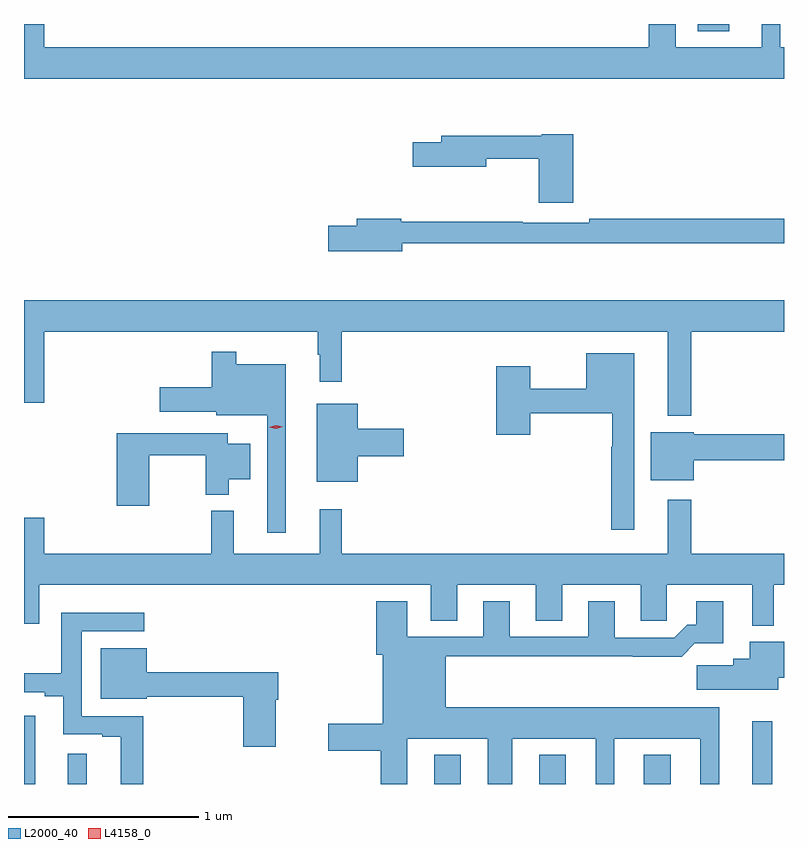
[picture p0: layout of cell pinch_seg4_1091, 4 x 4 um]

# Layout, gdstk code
import gdstk
lib = gdstk.Library(unit=1e-6, precision=1e-09)
def R(c, l, rs):  # rectangles x0, y0, x1, y1
    for r in rs: c.add(gdstk.rectangle(r[:2], r[2:], *l))
def A(c, l, x, y, w, h, nx, ny, dx, dy):  # array of equal rectangles
    R(c, l, [(x+i*dx, y+j*dy, x+i*dx+w, y+j*dy+h) for i in range(nx) for j in range(ny)])
def P(c, l, *ps):  # polygons
    for p in ps: c.add(gdstk.Polygon(p, *l))
L2000_40 = (2000, 40)
L4158_0 = (4158, 0)

pinch_seg4_1091 = lib.new_cell('pinch_seg4_1091')
A(pinch_seg4_1091, L2000_40, 418.973, 802.431, 0.14, 0.154, 3, 1, 0.552, 0)
R(pinch_seg4_1091, L2000_40, [(416.814,802.431,416.872,802.791), (417.044,802.431,417.143,802.591), (420.647,802.431,420.751,802.762), (420.36,806.393,420.526,806.431)])
P(pinch_seg4_1091, L2000_40, [(420.814,806.308),(420.795,806.308),(420.795,806.431),(420.698,806.431),(420.698,806.308),(420.244,806.308),(420.244,806.431),(420.101,806.431),(420.101,806.308),(416.92,806.308),(416.92,806.431),(416.814,806.431),(416.814,806.144),(420.814,806.144)],
  [(419.705,805.851),(419.538,805.851),(419.538,805.843),(419.009,805.843),(419.009,805.809),(418.86,805.809),(418.86,805.679),(419.248,805.679),(419.248,805.722),(419.522,805.722),(419.522,805.491),(419.705,805.491)],
  [(418.804,805.278),(420.814,805.278),(420.814,805.406),(419.788,805.406),(419.788,805.386),(419.438,805.386),(419.438,805.391),(418.8,805.391),(418.8,805.406),(418.565,805.406),(418.565,805.37),(418.416,805.37),(418.416,805.235),(418.804,805.235)],
  [(420.325,804.812),(420.814,804.812),(420.814,804.976),(416.814,804.976),(416.814,804.438),(416.92,804.438),(416.92,804.812),(418.359,804.812),(418.359,804.689),(418.37,804.689),(418.37,804.549),(418.487,804.549),(418.487,804.812),(420.203,804.812),(420.203,804.368),(420.325,804.368)],
  [(418.192,804.64),(417.931,804.64),(417.931,804.706),(417.802,804.706),(417.802,804.519),(417.528,804.519),(417.528,804.389),(417.825,804.389),(417.825,804.371),(418.095,804.371),(418.095,803.754),(418.192,803.754)],
  [(420.025,804.697),(419.774,804.697),(419.774,804.511),(419.478,804.511),(419.478,804.631),(419.3,804.631),(419.3,804.27),(419.478,804.27),(419.478,804.382),(419.911,804.382),(419.911,804.205),(419.904,804.205),(419.904,803.769),(420.025,803.769)],
  [(418.57,804.155),(418.813,804.155),(418.813,804.302),(418.57,804.302),(418.57,804.433),(418.355,804.433),(418.355,804.023),(418.57,804.023)],
  [(420.34,804.136),(420.814,804.136),(420.814,804.272),(420.34,804.272),(420.34,804.283),(420.113,804.283),(420.113,804.029),(420.34,804.029)],
  [(417.472,804.16),(417.77,804.16),(417.77,803.954),(417.892,803.954),(417.892,804.035),(418.006,804.035),(418.006,804.223),(417.886,804.223),(417.886,804.276),(417.302,804.276),(417.302,803.895),(417.472,803.895)],
  [(418.955,803.29),(419.095,803.29),(419.095,803.48),(419.507,803.48),(419.507,803.29),(419.647,803.29),(419.647,803.48),(420.059,803.48),(420.059,803.29),(420.198,803.29),(420.198,803.48),(420.647,803.48),(420.647,803.264),(420.761,803.264),(420.761,803.48),(420.814,803.48),(420.814,803.644),(420.325,803.644),(420.325,803.926),(420.203,803.926),(420.203,803.644),(418.487,803.644),(418.487,803.878),(418.37,803.878),(418.37,803.644),(417.917,803.644),(417.917,803.869),(417.799,803.869),(417.799,803.644),(416.92,803.644),(416.92,803.833),(416.814,803.833),(416.814,803.274),(416.893,803.274),(416.893,803.48),(418.955,803.48)],
  [(418.831,802.67),(419.255,802.67),(419.255,802.431),(419.383,802.431),(419.383,802.67),(419.822,802.67),(419.822,802.431),(419.92,802.431),(419.92,802.67),(420.374,802.67),(420.374,802.431),(420.472,802.431),(420.472,802.834),(419.035,802.834),(419.035,803.104),(420.019,803.104),(420.019,803.102),(420.275,803.102),(420.344,803.171),(420.493,803.171),(420.493,803.392),(420.353,803.392),(420.353,803.269),(420.304,803.269),(420.237,803.202),(419.923,803.202),(419.923,803.392),(419.783,803.392),(419.783,803.205),(419.371,803.205),(419.371,803.392),(419.231,803.392),(419.231,803.205),(418.831,803.205),(418.831,803.392),(418.667,803.392),(418.667,803.112),(418.703,803.112),(418.703,802.748),(418.416,802.748),(418.416,802.606),(418.691,802.606),(418.691,802.431),(418.831,802.431)],
  [(417.442,802.788),(417.117,802.788),(417.117,803.235),(417.448,803.235),(417.448,803.332),(417.009,803.332),(417.009,803.015),(416.814,803.015),(416.814,802.914),(416.924,802.914),(416.924,802.894),(417.02,802.894),(417.02,802.692),(417.227,802.692),(417.227,802.68),(417.323,802.68),(417.323,802.431),(417.442,802.431)],
  [(420.784,802.991),(420.814,802.991),(420.814,803.179),(420.635,803.179),(420.635,803.089),(420.548,803.089),(420.548,803.057),(420.354,803.057),(420.354,802.928),(420.784,802.928)],
  [(418.138,802.874),(418.151,802.874),(418.151,803.02),(417.46,803.02),(417.46,803.146),(417.218,803.146),(417.218,802.88),(417.46,802.88),(417.46,802.891),(417.968,802.891),(417.968,802.626),(418.138,802.626)])
P(pinch_seg4_1091, L4158_0, [(418.141,804.3),(418.105,804.308),(418.105,804.308),(418.105,804.308),(418.14,804.32),(418.176,804.311),(418.176,804.311),(418.176,804.311)])

lib.write_gds('pinch_seg4_1091.gds')
